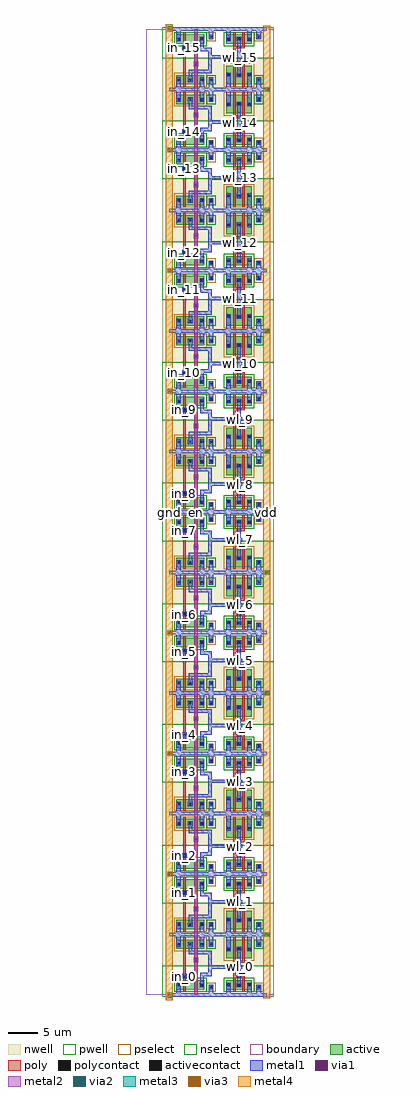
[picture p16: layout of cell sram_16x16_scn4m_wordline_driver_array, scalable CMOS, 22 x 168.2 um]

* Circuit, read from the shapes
.subckt sram_16x16_scn4m_wordline_driver_array en gnd in_0 in_1 in_10 in_11 in_12 in_13 in_14 in_15 in_2 in_3 in_4 in_5 in_6 in_7 in_8 in_9 vdd wl_0 wl_1 wl_10 wl_11 wl_12 wl_13 wl_14 wl_15 wl_2 wl_3 wl_4 wl_5 wl_6 wl_7 wl_8 wl_9
M1 sram_16x16_scn4m_wordline_driver_0/sram_16x16_scn4m_pnand2_0/sram_16x16_scn4m_nmos_m1_w1_600_sm1_dactive_2/D in_0 gnd gnd nfet w=1.6u l=0.4u
M2 sram_16x16_scn4m_wordline_driver_1/sram_16x16_scn4m_pnand2_0/sram_16x16_scn4m_nmos_m1_w1_600_sm1_dactive_2/D in_1 gnd gnd nfet w=1.6u l=0.4u
M3 sram_16x16_scn4m_wordline_driver_2/sram_16x16_scn4m_pnand2_0/sram_16x16_scn4m_nmos_m1_w1_600_sm1_dactive_2/D in_2 gnd gnd nfet w=1.6u l=0.4u
M4 sram_16x16_scn4m_wordline_driver_3/sram_16x16_scn4m_pnand2_0/sram_16x16_scn4m_nmos_m1_w1_600_sm1_dactive_2/D in_3 gnd gnd nfet w=1.6u l=0.4u
M5 sram_16x16_scn4m_wordline_driver_4/sram_16x16_scn4m_pnand2_0/sram_16x16_scn4m_nmos_m1_w1_600_sm1_dactive_2/D in_4 gnd gnd nfet w=1.6u l=0.4u
M6 sram_16x16_scn4m_wordline_driver_5/sram_16x16_scn4m_pnand2_0/sram_16x16_scn4m_nmos_m1_w1_600_sm1_dactive_2/D in_5 gnd gnd nfet w=1.6u l=0.4u
M7 sram_16x16_scn4m_wordline_driver_6/sram_16x16_scn4m_pnand2_0/sram_16x16_scn4m_nmos_m1_w1_600_sm1_dactive_2/D in_6 gnd gnd nfet w=1.6u l=0.4u
M8 sram_16x16_scn4m_wordline_driver_7/sram_16x16_scn4m_pnand2_0/sram_16x16_scn4m_nmos_m1_w1_600_sm1_dactive_2/D in_7 gnd gnd nfet w=1.6u l=0.4u
M9 sram_16x16_scn4m_wordline_driver_8/sram_16x16_scn4m_pnand2_0/sram_16x16_scn4m_nmos_m1_w1_600_sm1_dactive_2/D in_8 gnd gnd nfet w=1.6u l=0.4u
M10 sram_16x16_scn4m_wordline_driver_9/sram_16x16_scn4m_pnand2_0/sram_16x16_scn4m_nmos_m1_w1_600_sm1_dactive_2/D in_9 gnd gnd nfet w=1.6u l=0.4u
M11 sram_16x16_scn4m_wordline_driver_10/sram_16x16_scn4m_pnand2_0/sram_16x16_scn4m_nmos_m1_w1_600_sm1_dactive_2/D in_10 gnd gnd nfet w=1.6u l=0.4u
M12 sram_16x16_scn4m_wordline_driver_11/sram_16x16_scn4m_pnand2_0/sram_16x16_scn4m_nmos_m1_w1_600_sm1_dactive_2/D in_11 gnd gnd nfet w=1.6u l=0.4u
M13 sram_16x16_scn4m_wordline_driver_12/sram_16x16_scn4m_pnand2_0/sram_16x16_scn4m_nmos_m1_w1_600_sm1_dactive_2/D in_12 gnd gnd nfet w=1.6u l=0.4u
M14 sram_16x16_scn4m_wordline_driver_13/sram_16x16_scn4m_pnand2_0/sram_16x16_scn4m_nmos_m1_w1_600_sm1_dactive_2/D in_13 gnd gnd nfet w=1.6u l=0.4u
M15 sram_16x16_scn4m_wordline_driver_14/sram_16x16_scn4m_pnand2_0/sram_16x16_scn4m_nmos_m1_w1_600_sm1_dactive_2/D in_14 gnd gnd nfet w=1.6u l=0.4u
M16 sram_16x16_scn4m_wordline_driver_15/sram_16x16_scn4m_pnand2_0/sram_16x16_scn4m_nmos_m1_w1_600_sm1_dactive_2/D in_15 gnd gnd nfet w=1.6u l=0.4u
M17 sram_16x16_scn4m_wordline_driver_0/sram_16x16_scn4m_pinv_0_1/A en sram_16x16_scn4m_wordline_driver_0/sram_16x16_scn4m_pnand2_0/sram_16x16_scn4m_nmos_m1_w1_600_sm1_dactive_2/D gnd nfet w=1.6u l=0.4u
M18 sram_16x16_scn4m_wordline_driver_1/sram_16x16_scn4m_pinv_0_1/A en sram_16x16_scn4m_wordline_driver_1/sram_16x16_scn4m_pnand2_0/sram_16x16_scn4m_nmos_m1_w1_600_sm1_dactive_2/D gnd nfet w=1.6u l=0.4u
M19 sram_16x16_scn4m_wordline_driver_2/sram_16x16_scn4m_pinv_0_1/A en sram_16x16_scn4m_wordline_driver_2/sram_16x16_scn4m_pnand2_0/sram_16x16_scn4m_nmos_m1_w1_600_sm1_dactive_2/D gnd nfet w=1.6u l=0.4u
M20 sram_16x16_scn4m_wordline_driver_3/sram_16x16_scn4m_pinv_0_1/A en sram_16x16_scn4m_wordline_driver_3/sram_16x16_scn4m_pnand2_0/sram_16x16_scn4m_nmos_m1_w1_600_sm1_dactive_2/D gnd nfet w=1.6u l=0.4u
M21 sram_16x16_scn4m_wordline_driver_4/sram_16x16_scn4m_pinv_0_1/A en sram_16x16_scn4m_wordline_driver_4/sram_16x16_scn4m_pnand2_0/sram_16x16_scn4m_nmos_m1_w1_600_sm1_dactive_2/D gnd nfet w=1.6u l=0.4u
M22 sram_16x16_scn4m_wordline_driver_5/sram_16x16_scn4m_pinv_0_1/A en sram_16x16_scn4m_wordline_driver_5/sram_16x16_scn4m_pnand2_0/sram_16x16_scn4m_nmos_m1_w1_600_sm1_dactive_2/D gnd nfet w=1.6u l=0.4u
M23 sram_16x16_scn4m_wordline_driver_6/sram_16x16_scn4m_pinv_0_1/A en sram_16x16_scn4m_wordline_driver_6/sram_16x16_scn4m_pnand2_0/sram_16x16_scn4m_nmos_m1_w1_600_sm1_dactive_2/D gnd nfet w=1.6u l=0.4u
M24 sram_16x16_scn4m_wordline_driver_7/sram_16x16_scn4m_pinv_0_1/A en sram_16x16_scn4m_wordline_driver_7/sram_16x16_scn4m_pnand2_0/sram_16x16_scn4m_nmos_m1_w1_600_sm1_dactive_2/D gnd nfet w=1.6u l=0.4u
M25 sram_16x16_scn4m_wordline_driver_8/sram_16x16_scn4m_pinv_0_1/A en sram_16x16_scn4m_wordline_driver_8/sram_16x16_scn4m_pnand2_0/sram_16x16_scn4m_nmos_m1_w1_600_sm1_dactive_2/D gnd nfet w=1.6u l=0.4u
M26 sram_16x16_scn4m_wordline_driver_9/sram_16x16_scn4m_pinv_0_1/A en sram_16x16_scn4m_wordline_driver_9/sram_16x16_scn4m_pnand2_0/sram_16x16_scn4m_nmos_m1_w1_600_sm1_dactive_2/D gnd nfet w=1.6u l=0.4u
M27 sram_16x16_scn4m_wordline_driver_10/sram_16x16_scn4m_pinv_0_1/A en sram_16x16_scn4m_wordline_driver_10/sram_16x16_scn4m_pnand2_0/sram_16x16_scn4m_nmos_m1_w1_600_sm1_dactive_2/D gnd nfet w=1.6u l=0.4u
M28 sram_16x16_scn4m_wordline_driver_11/sram_16x16_scn4m_pinv_0_1/A en sram_16x16_scn4m_wordline_driver_11/sram_16x16_scn4m_pnand2_0/sram_16x16_scn4m_nmos_m1_w1_600_sm1_dactive_2/D gnd nfet w=1.6u l=0.4u
M29 sram_16x16_scn4m_wordline_driver_12/sram_16x16_scn4m_pinv_0_1/A en sram_16x16_scn4m_wordline_driver_12/sram_16x16_scn4m_pnand2_0/sram_16x16_scn4m_nmos_m1_w1_600_sm1_dactive_2/D gnd nfet w=1.6u l=0.4u
M30 sram_16x16_scn4m_wordline_driver_13/sram_16x16_scn4m_pinv_0_1/A en sram_16x16_scn4m_wordline_driver_13/sram_16x16_scn4m_pnand2_0/sram_16x16_scn4m_nmos_m1_w1_600_sm1_dactive_2/D gnd nfet w=1.6u l=0.4u
M31 sram_16x16_scn4m_wordline_driver_14/sram_16x16_scn4m_pinv_0_1/A en sram_16x16_scn4m_wordline_driver_14/sram_16x16_scn4m_pnand2_0/sram_16x16_scn4m_nmos_m1_w1_600_sm1_dactive_2/D gnd nfet w=1.6u l=0.4u
M32 sram_16x16_scn4m_wordline_driver_15/sram_16x16_scn4m_pinv_0_1/A en sram_16x16_scn4m_wordline_driver_15/sram_16x16_scn4m_pnand2_0/sram_16x16_scn4m_nmos_m1_w1_600_sm1_dactive_2/D gnd nfet w=1.6u l=0.4u
M33 wl_0 sram_16x16_scn4m_wordline_driver_0/sram_16x16_scn4m_pinv_0_1/A gnd gnd nfet w=1.6u l=0.4u m=2
M34 wl_1 sram_16x16_scn4m_wordline_driver_1/sram_16x16_scn4m_pinv_0_1/A gnd gnd nfet w=1.6u l=0.4u m=2
M35 wl_2 sram_16x16_scn4m_wordline_driver_2/sram_16x16_scn4m_pinv_0_1/A gnd gnd nfet w=1.6u l=0.4u m=2
M36 wl_3 sram_16x16_scn4m_wordline_driver_3/sram_16x16_scn4m_pinv_0_1/A gnd gnd nfet w=1.6u l=0.4u m=2
M37 wl_4 sram_16x16_scn4m_wordline_driver_4/sram_16x16_scn4m_pinv_0_1/A gnd gnd nfet w=1.6u l=0.4u m=2
M38 wl_5 sram_16x16_scn4m_wordline_driver_5/sram_16x16_scn4m_pinv_0_1/A gnd gnd nfet w=1.6u l=0.4u m=2
M39 wl_6 sram_16x16_scn4m_wordline_driver_6/sram_16x16_scn4m_pinv_0_1/A gnd gnd nfet w=1.6u l=0.4u m=2
M40 wl_7 sram_16x16_scn4m_wordline_driver_7/sram_16x16_scn4m_pinv_0_1/A gnd gnd nfet w=1.6u l=0.4u m=2
M41 wl_8 sram_16x16_scn4m_wordline_driver_8/sram_16x16_scn4m_pinv_0_1/A gnd gnd nfet w=1.6u l=0.4u m=2
M42 wl_9 sram_16x16_scn4m_wordline_driver_9/sram_16x16_scn4m_pinv_0_1/A gnd gnd nfet w=1.6u l=0.4u m=2
M43 wl_10 sram_16x16_scn4m_wordline_driver_10/sram_16x16_scn4m_pinv_0_1/A gnd gnd nfet w=1.6u l=0.4u m=2
M44 wl_11 sram_16x16_scn4m_wordline_driver_11/sram_16x16_scn4m_pinv_0_1/A gnd gnd nfet w=1.6u l=0.4u m=2
M45 wl_12 sram_16x16_scn4m_wordline_driver_12/sram_16x16_scn4m_pinv_0_1/A gnd gnd nfet w=1.6u l=0.4u m=2
M46 wl_13 sram_16x16_scn4m_wordline_driver_13/sram_16x16_scn4m_pinv_0_1/A gnd gnd nfet w=1.6u l=0.4u m=2
M47 wl_14 sram_16x16_scn4m_wordline_driver_14/sram_16x16_scn4m_pinv_0_1/A gnd gnd nfet w=1.6u l=0.4u m=2
M48 wl_15 sram_16x16_scn4m_wordline_driver_15/sram_16x16_scn4m_pinv_0_1/A gnd gnd nfet w=1.6u l=0.4u m=2
M49 sram_16x16_scn4m_wordline_driver_0/sram_16x16_scn4m_pinv_0_1/A in_0 vdd vdd pfet w=1.6u l=0.4u
M50 sram_16x16_scn4m_wordline_driver_1/sram_16x16_scn4m_pinv_0_1/A in_1 vdd vdd pfet w=1.6u l=0.4u
M51 sram_16x16_scn4m_wordline_driver_2/sram_16x16_scn4m_pinv_0_1/A in_2 vdd vdd pfet w=1.6u l=0.4u
M52 sram_16x16_scn4m_wordline_driver_3/sram_16x16_scn4m_pinv_0_1/A in_3 vdd vdd pfet w=1.6u l=0.4u
M53 sram_16x16_scn4m_wordline_driver_4/sram_16x16_scn4m_pinv_0_1/A in_4 vdd vdd pfet w=1.6u l=0.4u
M54 sram_16x16_scn4m_wordline_driver_5/sram_16x16_scn4m_pinv_0_1/A in_5 vdd vdd pfet w=1.6u l=0.4u
M55 sram_16x16_scn4m_wordline_driver_6/sram_16x16_scn4m_pinv_0_1/A in_6 vdd vdd pfet w=1.6u l=0.4u
M56 sram_16x16_scn4m_wordline_driver_7/sram_16x16_scn4m_pinv_0_1/A in_7 vdd vdd pfet w=1.6u l=0.4u
M57 sram_16x16_scn4m_wordline_driver_8/sram_16x16_scn4m_pinv_0_1/A in_8 vdd vdd pfet w=1.6u l=0.4u
M58 sram_16x16_scn4m_wordline_driver_9/sram_16x16_scn4m_pinv_0_1/A in_9 vdd vdd pfet w=1.6u l=0.4u
M59 sram_16x16_scn4m_wordline_driver_10/sram_16x16_scn4m_pinv_0_1/A in_10 vdd vdd pfet w=1.6u l=0.4u
M60 sram_16x16_scn4m_wordline_driver_11/sram_16x16_scn4m_pinv_0_1/A in_11 vdd vdd pfet w=1.6u l=0.4u
M61 sram_16x16_scn4m_wordline_driver_12/sram_16x16_scn4m_pinv_0_1/A in_12 vdd vdd pfet w=1.6u l=0.4u
M62 sram_16x16_scn4m_wordline_driver_13/sram_16x16_scn4m_pinv_0_1/A in_13 vdd vdd pfet w=1.6u l=0.4u
M63 sram_16x16_scn4m_wordline_driver_14/sram_16x16_scn4m_pinv_0_1/A in_14 vdd vdd pfet w=1.6u l=0.4u
M64 sram_16x16_scn4m_wordline_driver_15/sram_16x16_scn4m_pinv_0_1/A in_15 vdd vdd pfet w=1.6u l=0.4u
M65 vdd en sram_16x16_scn4m_wordline_driver_0/sram_16x16_scn4m_pinv_0_1/A vdd pfet w=1.6u l=0.4u
M66 vdd en sram_16x16_scn4m_wordline_driver_1/sram_16x16_scn4m_pinv_0_1/A vdd pfet w=1.6u l=0.4u
M67 vdd en sram_16x16_scn4m_wordline_driver_2/sram_16x16_scn4m_pinv_0_1/A vdd pfet w=1.6u l=0.4u
M68 vdd en sram_16x16_scn4m_wordline_driver_3/sram_16x16_scn4m_pinv_0_1/A vdd pfet w=1.6u l=0.4u
M69 vdd en sram_16x16_scn4m_wordline_driver_4/sram_16x16_scn4m_pinv_0_1/A vdd pfet w=1.6u l=0.4u
M70 vdd en sram_16x16_scn4m_wordline_driver_5/sram_16x16_scn4m_pinv_0_1/A vdd pfet w=1.6u l=0.4u
M71 vdd en sram_16x16_scn4m_wordline_driver_6/sram_16x16_scn4m_pinv_0_1/A vdd pfet w=1.6u l=0.4u
M72 vdd en sram_16x16_scn4m_wordline_driver_7/sram_16x16_scn4m_pinv_0_1/A vdd pfet w=1.6u l=0.4u
M73 vdd en sram_16x16_scn4m_wordline_driver_8/sram_16x16_scn4m_pinv_0_1/A vdd pfet w=1.6u l=0.4u
M74 vdd en sram_16x16_scn4m_wordline_driver_9/sram_16x16_scn4m_pinv_0_1/A vdd pfet w=1.6u l=0.4u
M75 vdd en sram_16x16_scn4m_wordline_driver_10/sram_16x16_scn4m_pinv_0_1/A vdd pfet w=1.6u l=0.4u
M76 vdd en sram_16x16_scn4m_wordline_driver_11/sram_16x16_scn4m_pinv_0_1/A vdd pfet w=1.6u l=0.4u
M77 vdd en sram_16x16_scn4m_wordline_driver_12/sram_16x16_scn4m_pinv_0_1/A vdd pfet w=1.6u l=0.4u
M78 vdd en sram_16x16_scn4m_wordline_driver_13/sram_16x16_scn4m_pinv_0_1/A vdd pfet w=1.6u l=0.4u
M79 vdd en sram_16x16_scn4m_wordline_driver_14/sram_16x16_scn4m_pinv_0_1/A vdd pfet w=1.6u l=0.4u
M80 vdd en sram_16x16_scn4m_wordline_driver_15/sram_16x16_scn4m_pinv_0_1/A vdd pfet w=1.6u l=0.4u
M81 wl_0 sram_16x16_scn4m_wordline_driver_0/sram_16x16_scn4m_pinv_0_1/A vdd vdd pfet w=3.2u l=0.4u m=2
M82 wl_1 sram_16x16_scn4m_wordline_driver_1/sram_16x16_scn4m_pinv_0_1/A vdd vdd pfet w=3.2u l=0.4u m=2
M83 wl_2 sram_16x16_scn4m_wordline_driver_2/sram_16x16_scn4m_pinv_0_1/A vdd vdd pfet w=3.2u l=0.4u m=2
M84 wl_3 sram_16x16_scn4m_wordline_driver_3/sram_16x16_scn4m_pinv_0_1/A vdd vdd pfet w=3.2u l=0.4u m=2
M85 wl_4 sram_16x16_scn4m_wordline_driver_4/sram_16x16_scn4m_pinv_0_1/A vdd vdd pfet w=3.2u l=0.4u m=2
M86 wl_5 sram_16x16_scn4m_wordline_driver_5/sram_16x16_scn4m_pinv_0_1/A vdd vdd pfet w=3.2u l=0.4u m=2
M87 wl_6 sram_16x16_scn4m_wordline_driver_6/sram_16x16_scn4m_pinv_0_1/A vdd vdd pfet w=3.2u l=0.4u m=2
M88 wl_7 sram_16x16_scn4m_wordline_driver_7/sram_16x16_scn4m_pinv_0_1/A vdd vdd pfet w=3.2u l=0.4u m=2
M89 wl_8 sram_16x16_scn4m_wordline_driver_8/sram_16x16_scn4m_pinv_0_1/A vdd vdd pfet w=3.2u l=0.4u m=2
M90 wl_9 sram_16x16_scn4m_wordline_driver_9/sram_16x16_scn4m_pinv_0_1/A vdd vdd pfet w=3.2u l=0.4u m=2
M91 wl_10 sram_16x16_scn4m_wordline_driver_10/sram_16x16_scn4m_pinv_0_1/A vdd vdd pfet w=3.2u l=0.4u m=2
M92 wl_11 sram_16x16_scn4m_wordline_driver_11/sram_16x16_scn4m_pinv_0_1/A vdd vdd pfet w=3.2u l=0.4u m=2
M93 wl_12 sram_16x16_scn4m_wordline_driver_12/sram_16x16_scn4m_pinv_0_1/A vdd vdd pfet w=3.2u l=0.4u m=2
M94 wl_13 sram_16x16_scn4m_wordline_driver_13/sram_16x16_scn4m_pinv_0_1/A vdd vdd pfet w=3.2u l=0.4u m=2
M95 wl_14 sram_16x16_scn4m_wordline_driver_14/sram_16x16_scn4m_pinv_0_1/A vdd vdd pfet w=3.2u l=0.4u m=2
M96 wl_15 sram_16x16_scn4m_wordline_driver_15/sram_16x16_scn4m_pinv_0_1/A vdd vdd pfet w=3.2u l=0.4u m=2
.ends

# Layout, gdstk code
import gdstk
lib = gdstk.Library(unit=1e-6, precision=1e-09)
def R(c, l, rs):  # rectangles x0, y0, x1, y1
    for r in rs: c.add(gdstk.rectangle(r[:2], r[2:], *l))
def A(c, l, x, y, w, h, nx, ny, dx, dy):  # array of equal rectangles
    R(c, l, [(x+i*dx, y+j*dy, x+i*dx+w, y+j*dy+h) for i in range(nx) for j in range(ny)])
via3 = (30, 0)
metal4 = (31, 0)
pwell = (41, 0)
nwell = (42, 0)
active = (43, 0)
pselect = (44, 0)
nselect = (45, 0)
poly = (46, 0)
polycontact = (47, 0)
activecontact = (48, 0)
metal1 = (49, 0)
via1 = (50, 0)
metal2 = (51, 0)
via2 = (61, 0)
metal3 = (62, 0)
boundary = (63, 0)

sram_16x16_scn4m_contact = lib.new_cell('sram_16x16_scn4m_contact_12')
R(sram_16x16_scn4m_contact, nwell, [(-1.2,-1.2,2,2)])
R(sram_16x16_scn4m_contact, active, [(0,0,0.8,0.8)])
R(sram_16x16_scn4m_contact, pselect, [(-0.4,-0.4,1.2,1.2)])
R(sram_16x16_scn4m_contact, activecontact, [(0.2,0.2,0.6,0.6)])
R(sram_16x16_scn4m_contact, metal1, [(0,0,0.8,0.8)])
R(sram_16x16_scn4m_contact, boundary, [(-1.2,-1.2,2,2)])

sram_16x16_scn4m_pmos_m1 = lib.new_cell('sram_16x16_scn4m_pmos_m1_w1_600_sm1_dm1')
R(sram_16x16_scn4m_pmos_m1, nwell, [(-1.2,-1.2,4,2.8)])
R(sram_16x16_scn4m_pmos_m1, active, [(0,0,2.8,1.6)])
R(sram_16x16_scn4m_pmos_m1, pselect, [(-0.4,-0.4,3.2,2)])
R(sram_16x16_scn4m_pmos_m1, poly, [(1.2,-0.4,1.6,2), (1.2,-0.4,1.6,2)])
R(sram_16x16_scn4m_pmos_m1, metal1, [(0,0.4,0.8,1.2), (2,0.4,2.8,1.2)])
R(sram_16x16_scn4m_pmos_m1, boundary, [(-1.2,-1.2,4,2.8)])
sram_16x16_scn4m_pmos_m1.add(gdstk.Reference(sram_16x16_scn4m_contact, (0,0.4)))
sram_16x16_scn4m_pmos_m1.add(gdstk.Reference(sram_16x16_scn4m_contact, (2,0.4)))
sram_16x16_scn4m_pmos_m1.add(gdstk.Label('G', (1.4,0.8), layer=46, texttype=0))
sram_16x16_scn4m_pmos_m1.add(gdstk.Label('S', (0.4,0.8), layer=49, texttype=0))
sram_16x16_scn4m_pmos_m1.add(gdstk.Label('D', (2.4,0.8), layer=49, texttype=0))

c_sram_16x16_scn4m_contact = lib.new_cell('sram_16x16_scn4m_contact_11')
R(c_sram_16x16_scn4m_contact, pwell, [(-1.2,-1.2,2,2)])
R(c_sram_16x16_scn4m_contact, active, [(0,0,0.8,0.8)])
R(c_sram_16x16_scn4m_contact, nselect, [(-0.4,-0.4,1.2,1.2)])
R(c_sram_16x16_scn4m_contact, activecontact, [(0.2,0.2,0.6,0.6)])
R(c_sram_16x16_scn4m_contact, metal1, [(0,0,0.8,0.8)])
R(c_sram_16x16_scn4m_contact, boundary, [(-1.2,-1.2,2,2)])

sram_16x16_scn4m_nmos_m1 = lib.new_cell('sram_16x16_scn4m_nmos_m1_w1_600_sm1_dactive')
R(sram_16x16_scn4m_nmos_m1, pwell, [(-1.2,-1.2,4,2.8)])
R(sram_16x16_scn4m_nmos_m1, active, [(0,0,2.8,1.6), (2.1,0.5,2.7,1.1)])
R(sram_16x16_scn4m_nmos_m1, nselect, [(-0.4,-0.4,3.2,2)])
R(sram_16x16_scn4m_nmos_m1, poly, [(1.2,-0.4,1.6,2), (1.2,-0.4,1.6,2)])
R(sram_16x16_scn4m_nmos_m1, metal1, [(0,0.4,0.8,1.2)])
R(sram_16x16_scn4m_nmos_m1, boundary, [(-1.2,-1.2,4,2.8)])
sram_16x16_scn4m_nmos_m1.add(gdstk.Reference(c_sram_16x16_scn4m_contact, (0,0.4)))
sram_16x16_scn4m_nmos_m1.add(gdstk.Label('G', (1.4,0.8), layer=46, texttype=0))
sram_16x16_scn4m_nmos_m1.add(gdstk.Label('S', (0.4,0.8), layer=49, texttype=0))
sram_16x16_scn4m_nmos_m1.add(gdstk.Label('D', (2.4,0.8), layer=43, texttype=0))

c_sram_16x16_scn4m_nmos_m1 = lib.new_cell('sram_16x16_scn4m_nmos_m1_w1_600_sactive_dm1')
R(c_sram_16x16_scn4m_nmos_m1, pwell, [(-1.2,-1.2,4,2.8)])
R(c_sram_16x16_scn4m_nmos_m1, active, [(0,0,2.8,1.6), (0.1,0.5,0.7,1.1)])
R(c_sram_16x16_scn4m_nmos_m1, nselect, [(-0.4,-0.4,3.2,2)])
R(c_sram_16x16_scn4m_nmos_m1, poly, [(1.2,-0.4,1.6,2), (1.2,-0.4,1.6,2)])
R(c_sram_16x16_scn4m_nmos_m1, metal1, [(2,0.4,2.8,1.2)])
R(c_sram_16x16_scn4m_nmos_m1, boundary, [(-1.2,-1.2,4,2.8)])
c_sram_16x16_scn4m_nmos_m1.add(gdstk.Reference(c_sram_16x16_scn4m_contact, (2,0.4)))
c_sram_16x16_scn4m_nmos_m1.add(gdstk.Label('G', (1.4,0.8), layer=46, texttype=0))
c_sram_16x16_scn4m_nmos_m1.add(gdstk.Label('S', (0.4,0.8), layer=43, texttype=0))
c_sram_16x16_scn4m_nmos_m1.add(gdstk.Label('D', (2.4,0.8), layer=49, texttype=0))

c_sram_16x16_scn4m_contact_ = lib.new_cell('sram_16x16_scn4m_contact_13')
R(c_sram_16x16_scn4m_contact_, nwell, [(-1.2,-1.2,2,2)])
R(c_sram_16x16_scn4m_contact_, active, [(0,0,0.8,0.8)])
R(c_sram_16x16_scn4m_contact_, nselect, [(-0.4,-0.4,1.2,1.2)])
R(c_sram_16x16_scn4m_contact_, activecontact, [(0.2,0.2,0.6,0.6)])
R(c_sram_16x16_scn4m_contact_, metal1, [(0,0,0.8,0.8)])
R(c_sram_16x16_scn4m_contact_, boundary, [(-1.2,-1.2,2,2)])

c_sram_16x16_scn4m_contact__ = lib.new_cell('sram_16x16_scn4m_contact_14')
R(c_sram_16x16_scn4m_contact__, pwell, [(-1.2,-1.2,2,2)])
R(c_sram_16x16_scn4m_contact__, active, [(0,0,0.8,0.8)])
R(c_sram_16x16_scn4m_contact__, pselect, [(-0.4,-0.4,1.2,1.2)])
R(c_sram_16x16_scn4m_contact__, activecontact, [(0.2,0.2,0.6,0.6)])
R(c_sram_16x16_scn4m_contact__, metal1, [(0,0,0.8,0.8)])
R(c_sram_16x16_scn4m_contact__, boundary, [(-1.2,-1.2,2,2)])

c_sram_16x16_scn4m_contact___ = lib.new_cell('sram_16x16_scn4m_contact_15')
R(c_sram_16x16_scn4m_contact___, poly, [(0,0,0.8,0.8)])
R(c_sram_16x16_scn4m_contact___, polycontact, [(0.2,0.2,0.6,0.6)])
R(c_sram_16x16_scn4m_contact___, metal1, [(0,0,0.8,0.8)])
R(c_sram_16x16_scn4m_contact___, boundary, [(0,0,0.8,0.8)])

sram_16x16_scn4m_pnand2 = lib.new_cell('sram_16x16_scn4m_pnand2')
R(sram_16x16_scn4m_pnand2, pwell, [(-1.2,-0.3,9.8,5)])
R(sram_16x16_scn4m_pnand2, nwell, [(-1.2,5,9.8,11.9)])
R(sram_16x16_scn4m_pnand2, poly, [(2.4,2.8,2.6,3.6), (2.4,2.9,2.8,7.5), (4.4,2.9,4.8,7.5), (4.4,5.6,4.6,6.4)])
R(sram_16x16_scn4m_pnand2, metal1, [(0,-0.3,8.6,0.3), (1.2,-0.3,2,1.3), (6.8,0,7.6,1.3), (5.3,2.1,5.9,3.5), (2.2,2.8,3,3.6), (5.3,3.2,5.9,3.8), (5.6,3.2,7,3.8), (6.7,3.2,7.3,3.8), (6.7,3.5,7.3,7.3), (4.2,5.6,5,6.4), (3.3,7,3.9,7.6), (3.6,7,7,7.6), (6.7,7,7.3,7.6), (3.3,7.3,3.9,8.3), (1.2,8.3,2,10.7), (5.2,8.3,6,10.7), (6.8,8.7,7.6,10.4), (0,10.1,8.6,10.7)])
R(sram_16x16_scn4m_pnand2, boundary, [(0,0,8.6,10.4), (0,0,8.6,10.4)])
sram_16x16_scn4m_pnand2.add(gdstk.Reference(sram_16x16_scn4m_pmos_m1, (1.2,7.9)))
sram_16x16_scn4m_pnand2.add(gdstk.Reference(sram_16x16_scn4m_pmos_m1, (3.2,7.9)))
sram_16x16_scn4m_pnand2.add(gdstk.Reference(sram_16x16_scn4m_nmos_m1, (1.2,0.9)))
sram_16x16_scn4m_pnand2.add(gdstk.Reference(c_sram_16x16_scn4m_nmos_m1, (3.2,0.9)))
sram_16x16_scn4m_pnand2.add(gdstk.Reference(c_sram_16x16_scn4m_contact_, (6.8,8.3)))
sram_16x16_scn4m_pnand2.add(gdstk.Reference(c_sram_16x16_scn4m_contact__, (6.8,0.9)))
sram_16x16_scn4m_pnand2.add(gdstk.Reference(c_sram_16x16_scn4m_contact___, (2.2,2.8)))
sram_16x16_scn4m_pnand2.add(gdstk.Reference(c_sram_16x16_scn4m_contact___, (4.2,5.6)))
sram_16x16_scn4m_pnand2.add(gdstk.Label('Z', (7,7.3), layer=49, texttype=0))
sram_16x16_scn4m_pnand2.add(gdstk.Label('gnd', (4.3,0), layer=49, texttype=0))
sram_16x16_scn4m_pnand2.add(gdstk.Label('vdd', (4.3,10.4), layer=49, texttype=0))
sram_16x16_scn4m_pnand2.add(gdstk.Label('A', (2.6,3.2), layer=49, texttype=0))
sram_16x16_scn4m_pnand2.add(gdstk.Label('B', (4.6,6), layer=49, texttype=0))

sram_16x16_scn4m_pmos_m2 = lib.new_cell('sram_16x16_scn4m_pmos_m2_w3_200_sm1_dm1_da_p')
R(sram_16x16_scn4m_pmos_m2, nwell, [(-1.2,-1.2,5.6,4.4)])
R(sram_16x16_scn4m_pmos_m2, active, [(0,0,4.4,3.2)])
R(sram_16x16_scn4m_pmos_m2, pselect, [(-0.4,-0.4,4.8,3.6)])
R(sram_16x16_scn4m_pmos_m2, poly, [(1.2,-0.8,3.2,-0.4), (1.2,-0.4,1.6,3.6), (2.8,-0.4,3.2,3.6)])
A(sram_16x16_scn4m_pmos_m2, metal1, 0, 1.2, 0.8, 0.8, 3, 1, 1.8, 0)
R(sram_16x16_scn4m_pmos_m2, boundary, [(-1.2,-1.2,5.6,4.4)])
sram_16x16_scn4m_pmos_m2.add(gdstk.Reference(sram_16x16_scn4m_contact, (0,1.2)))
sram_16x16_scn4m_pmos_m2.add(gdstk.Reference(sram_16x16_scn4m_contact, (1.8,1.2)))
sram_16x16_scn4m_pmos_m2.add(gdstk.Reference(sram_16x16_scn4m_contact, (3.6,1.2)))
sram_16x16_scn4m_pmos_m2.add(gdstk.Label('G', (2.2,-0.6), layer=46, texttype=0))
sram_16x16_scn4m_pmos_m2.add(gdstk.Label('S', (0.4,1.6), layer=49, texttype=0))
sram_16x16_scn4m_pmos_m2.add(gdstk.Label('S', (4,1.6), layer=49, texttype=0))
sram_16x16_scn4m_pmos_m2.add(gdstk.Label('D', (2.2,1.6), layer=49, texttype=0))

sram_16x16_scn4m_nmos_m2 = lib.new_cell('sram_16x16_scn4m_nmos_m2_w1_600_sm1_dm1_da_p')
R(sram_16x16_scn4m_nmos_m2, pwell, [(-1.2,-1.2,5.6,2.8)])
R(sram_16x16_scn4m_nmos_m2, active, [(0,0,4.4,1.6)])
R(sram_16x16_scn4m_nmos_m2, nselect, [(-0.4,-0.4,4.8,2)])
R(sram_16x16_scn4m_nmos_m2, poly, [(1.2,-0.4,1.6,2), (2.8,-0.4,3.2,2), (1.2,2,3.2,2.4)])
A(sram_16x16_scn4m_nmos_m2, metal1, 0, 0.4, 0.8, 0.8, 3, 1, 1.8, 0)
R(sram_16x16_scn4m_nmos_m2, boundary, [(-1.2,-1.2,5.6,2.8)])
sram_16x16_scn4m_nmos_m2.add(gdstk.Reference(c_sram_16x16_scn4m_contact, (0,0.4)))
sram_16x16_scn4m_nmos_m2.add(gdstk.Reference(c_sram_16x16_scn4m_contact, (1.8,0.4)))
sram_16x16_scn4m_nmos_m2.add(gdstk.Reference(c_sram_16x16_scn4m_contact, (3.6,0.4)))
sram_16x16_scn4m_nmos_m2.add(gdstk.Label('G', (2.2,2.2), layer=46, texttype=0))
sram_16x16_scn4m_nmos_m2.add(gdstk.Label('S', (4,0.8), layer=49, texttype=0))
sram_16x16_scn4m_nmos_m2.add(gdstk.Label('S', (0.4,0.8), layer=49, texttype=0))
sram_16x16_scn4m_nmos_m2.add(gdstk.Label('D', (2.2,0.8), layer=49, texttype=0))

sram_16x16_scn4m_pinv_0 = lib.new_cell('sram_16x16_scn4m_pinv_0')
R(sram_16x16_scn4m_pinv_0, pwell, [(-1.2,-0.3,9.4,5)])
R(sram_16x16_scn4m_pinv_0, nwell, [(-1.2,5,9.4,11.9)])
R(sram_16x16_scn4m_pinv_0, poly, [(2.4,3.3,2.8,5.5), (2,4.4,2.4,5.2)])
R(sram_16x16_scn4m_pinv_0, metal1, [(0,-0.3,8.2,0.3), (1.2,-0.3,2,1.3), (4.8,-0.3,5.6,1.3), (6.4,0,7.2,1.3), (3.1,1.3,3.7,8.3), (1.6,4.4,2.4,5.2), (3.4,4.5,4,5.1), (1.2,7.5,2,10.7), (4.8,7.5,5.6,10.7), (6.4,8.7,7.2,10.4), (0,10.1,8.2,10.7)])
R(sram_16x16_scn4m_pinv_0, boundary, [(0,0,8.2,10.4), (0,0,8.2,10.4)])
sram_16x16_scn4m_pinv_0.add(gdstk.Reference(sram_16x16_scn4m_pmos_m2, (1.2,6.3)))
sram_16x16_scn4m_pinv_0.add(gdstk.Reference(sram_16x16_scn4m_nmos_m2, (1.2,0.9)))
sram_16x16_scn4m_pinv_0.add(gdstk.Reference(c_sram_16x16_scn4m_contact_, (6.4,8.3)))
sram_16x16_scn4m_pinv_0.add(gdstk.Reference(c_sram_16x16_scn4m_contact__, (6.4,0.9)))
sram_16x16_scn4m_pinv_0.add(gdstk.Reference(c_sram_16x16_scn4m_contact___, (1.6,4.4)))
sram_16x16_scn4m_pinv_0.add(gdstk.Label('A', (2,4.8), layer=49, texttype=0))
sram_16x16_scn4m_pinv_0.add(gdstk.Label('Z', (3.7,4.8), layer=49, texttype=0))
sram_16x16_scn4m_pinv_0.add(gdstk.Label('gnd', (4.1,0), layer=49, texttype=0))
sram_16x16_scn4m_pinv_0.add(gdstk.Label('vdd', (4.1,10.4), layer=49, texttype=0))

sram_16x16_scn4m_wordlin = lib.new_cell('sram_16x16_scn4m_wordline_driver')
R(sram_16x16_scn4m_wordlin, metal1, [(0,-0.3,16.8,0.3), (2.2,2.8,3,3.6), (6.7,4.5,7.3,5.1), (7,4.5,10.6,5.1), (12,4.5,12.6,5.1), (6.7,4.8,7.3,7.3), (4.2,5.6,5,6.4), (0,10.1,16.8,10.7)])
R(sram_16x16_scn4m_wordlin, boundary, [(0,0,16.8,10.4)])
sram_16x16_scn4m_wordlin.add(gdstk.Reference(sram_16x16_scn4m_pnand2, (0,0)))
sram_16x16_scn4m_wordlin.add(gdstk.Reference(sram_16x16_scn4m_pinv_0, (8.6,0)))
sram_16x16_scn4m_wordlin.add(gdstk.Label('Z', (12.3,4.8), layer=49, texttype=0))
sram_16x16_scn4m_wordlin.add(gdstk.Label('A', (2.6,3.2), layer=49, texttype=0))
sram_16x16_scn4m_wordlin.add(gdstk.Label('B', (4.6,6), layer=49, texttype=0))
sram_16x16_scn4m_wordlin.add(gdstk.Label('gnd', (8.4,0), layer=49, texttype=0))
sram_16x16_scn4m_wordlin.add(gdstk.Label('vdd', (8.4,10.4), layer=49, texttype=0))

c_sram_16x16_scn4m_contact____ = lib.new_cell('sram_16x16_scn4m_contact_18')
R(c_sram_16x16_scn4m_contact____, metal1, [(0,0,0.8,0.8)])
R(c_sram_16x16_scn4m_contact____, via1, [(0.2,0.2,0.6,0.6)])
R(c_sram_16x16_scn4m_contact____, metal2, [(0,0,0.8,0.8)])
R(c_sram_16x16_scn4m_contact____, boundary, [(0,0,0.8,0.8)])

c_sram_16x16_scn4m_contact_____ = lib.new_cell('sram_16x16_scn4m_contact_19')
R(c_sram_16x16_scn4m_contact_____, metal2, [(0,0,0.8,0.8)])
R(c_sram_16x16_scn4m_contact_____, via2, [(0.2,0.2,0.6,0.6)])
R(c_sram_16x16_scn4m_contact_____, metal3, [(0,0,0.8,0.8)])
R(c_sram_16x16_scn4m_contact_____, boundary, [(0,0,0.8,0.8)])

c_sram_16x16_scn4m_contact______ = lib.new_cell('sram_16x16_scn4m_contact_22')
R(c_sram_16x16_scn4m_contact______, via3, [(0.4,0.4,0.8,0.8)])
R(c_sram_16x16_scn4m_contact______, metal4, [(0,0,1.2,1.2)])
R(c_sram_16x16_scn4m_contact______, metal3, [(0.2,0.2,1,1)])
R(c_sram_16x16_scn4m_contact______, boundary, [(0,0,1.2,1.2)])

c_sram_16x16_scn4m_wordlin = lib.new_cell('sram_16x16_scn4m_wordline_driver_array')
R(c_sram_16x16_scn4m_wordlin, metal4, [(3.4,-0.9,4.6,167.3), (20.2,-0.6,21.4,167)])
R(c_sram_16x16_scn4m_wordlin, metal1, [(6.2,2.8,7,3.6), (16,4.5,16.6,5.1), (16,15.7,16.6,16.3), (6.2,17.2,7,18), (6.2,23.6,7,24.4), (16,25.3,16.6,25.9), (16,36.5,16.6,37.1), (6.2,38,7,38.8), (6.2,44.4,7,45.2), (16,46.1,16.6,46.7), (16,57.3,16.6,57.9), (6.2,58.8,7,59.6), (6.2,65.2,7,66), (16,66.9,16.6,67.5), (16,78.1,16.6,78.7), (6.2,79.6,7,80.4), (6.2,86,7,86.8), (16,87.7,16.6,88.3), (16,98.9,16.6,99.5), (6.2,100.4,7,101.2), (6.2,106.8,7,107.6), (16,108.5,16.6,109.1), (16,119.7,16.6,120.3), (6.2,121.2,7,122), (6.2,127.6,7,128.4), (16,129.3,16.6,129.9), (16,140.5,16.6,141.1), (6.2,142,7,142.8), (6.2,148.4,7,149.2), (16,150.1,16.6,150.7), (16,161.3,16.6,161.9), (6.2,162.8,7,163.6)])
R(c_sram_16x16_scn4m_wordlin, metal2, [(8.3,0,8.9,166.4)])
R(c_sram_16x16_scn4m_wordlin, boundary, [(0,0,22,166.4)])
c_sram_16x16_scn4m_wordlin.add(gdstk.Reference(sram_16x16_scn4m_wordlin, (4,0)))
c_sram_16x16_scn4m_wordlin.add(gdstk.Reference(sram_16x16_scn4m_wordlin, (4,20.8), x_reflection=True))
c_sram_16x16_scn4m_wordlin.add(gdstk.Reference(sram_16x16_scn4m_wordlin, (4,20.8)))
c_sram_16x16_scn4m_wordlin.add(gdstk.Reference(sram_16x16_scn4m_wordlin, (4,41.6), x_reflection=True))
c_sram_16x16_scn4m_wordlin.add(gdstk.Reference(sram_16x16_scn4m_wordlin, (4,41.6)))
c_sram_16x16_scn4m_wordlin.add(gdstk.Reference(sram_16x16_scn4m_wordlin, (4,62.4), x_reflection=True))
c_sram_16x16_scn4m_wordlin.add(gdstk.Reference(sram_16x16_scn4m_wordlin, (4,62.4)))
c_sram_16x16_scn4m_wordlin.add(gdstk.Reference(sram_16x16_scn4m_wordlin, (4,83.2), x_reflection=True))
c_sram_16x16_scn4m_wordlin.add(gdstk.Reference(sram_16x16_scn4m_wordlin, (4,83.2)))
c_sram_16x16_scn4m_wordlin.add(gdstk.Reference(sram_16x16_scn4m_wordlin, (4,104), x_reflection=True))
c_sram_16x16_scn4m_wordlin.add(gdstk.Reference(sram_16x16_scn4m_wordlin, (4,104)))
c_sram_16x16_scn4m_wordlin.add(gdstk.Reference(sram_16x16_scn4m_wordlin, (4,124.8), x_reflection=True))
c_sram_16x16_scn4m_wordlin.add(gdstk.Reference(sram_16x16_scn4m_wordlin, (4,124.8)))
c_sram_16x16_scn4m_wordlin.add(gdstk.Reference(sram_16x16_scn4m_wordlin, (4,145.6), x_reflection=True))
c_sram_16x16_scn4m_wordlin.add(gdstk.Reference(sram_16x16_scn4m_wordlin, (4,145.6)))
c_sram_16x16_scn4m_wordlin.add(gdstk.Reference(sram_16x16_scn4m_wordlin, (4,166.4), x_reflection=True))
c_sram_16x16_scn4m_wordlin.add(gdstk.Reference(c_sram_16x16_scn4m_contact____, (8.2,5.6)))
c_sram_16x16_scn4m_wordlin.add(gdstk.Reference(c_sram_16x16_scn4m_contact____, (8.2,14.4)))
c_sram_16x16_scn4m_wordlin.add(gdstk.Reference(c_sram_16x16_scn4m_contact____, (8.2,26.4)))
c_sram_16x16_scn4m_wordlin.add(gdstk.Reference(c_sram_16x16_scn4m_contact____, (8.2,35.2)))
c_sram_16x16_scn4m_wordlin.add(gdstk.Reference(c_sram_16x16_scn4m_contact____, (8.2,47.2)))
c_sram_16x16_scn4m_wordlin.add(gdstk.Reference(c_sram_16x16_scn4m_contact____, (8.2,56)))
c_sram_16x16_scn4m_wordlin.add(gdstk.Reference(c_sram_16x16_scn4m_contact____, (8.2,68)))
c_sram_16x16_scn4m_wordlin.add(gdstk.Reference(c_sram_16x16_scn4m_contact____, (8.2,76.8)))
c_sram_16x16_scn4m_wordlin.add(gdstk.Reference(c_sram_16x16_scn4m_contact____, (8.2,88.8)))
c_sram_16x16_scn4m_wordlin.add(gdstk.Reference(c_sram_16x16_scn4m_contact____, (8.2,97.6)))
c_sram_16x16_scn4m_wordlin.add(gdstk.Reference(c_sram_16x16_scn4m_contact____, (8.2,109.6)))
c_sram_16x16_scn4m_wordlin.add(gdstk.Reference(c_sram_16x16_scn4m_contact____, (8.2,118.4)))
c_sram_16x16_scn4m_wordlin.add(gdstk.Reference(c_sram_16x16_scn4m_contact____, (8.2,130.4)))
c_sram_16x16_scn4m_wordlin.add(gdstk.Reference(c_sram_16x16_scn4m_contact____, (8.2,139.2)))
c_sram_16x16_scn4m_wordlin.add(gdstk.Reference(c_sram_16x16_scn4m_contact____, (8.2,151.2)))
c_sram_16x16_scn4m_wordlin.add(gdstk.Reference(c_sram_16x16_scn4m_contact____, (8.2,160)))
c_sram_16x16_scn4m_wordlin.add(gdstk.Reference(c_sram_16x16_scn4m_contact____, (20.4,10)))
c_sram_16x16_scn4m_wordlin.add(gdstk.Reference(c_sram_16x16_scn4m_contact_____, (20.4,10)))
c_sram_16x16_scn4m_wordlin.add(gdstk.Reference(c_sram_16x16_scn4m_contact______, (20.2,9.8)))
c_sram_16x16_scn4m_wordlin.add(gdstk.Reference(c_sram_16x16_scn4m_contact____, (20.4,10)))
c_sram_16x16_scn4m_wordlin.add(gdstk.Reference(c_sram_16x16_scn4m_contact_____, (20.4,10)))
c_sram_16x16_scn4m_wordlin.add(gdstk.Reference(c_sram_16x16_scn4m_contact______, (20.2,9.8)))
c_sram_16x16_scn4m_wordlin.add(gdstk.Reference(c_sram_16x16_scn4m_contact____, (20.4,30.8)))
c_sram_16x16_scn4m_wordlin.add(gdstk.Reference(c_sram_16x16_scn4m_contact_____, (20.4,30.8)))
c_sram_16x16_scn4m_wordlin.add(gdstk.Reference(c_sram_16x16_scn4m_contact______, (20.2,30.6)))
c_sram_16x16_scn4m_wordlin.add(gdstk.Reference(c_sram_16x16_scn4m_contact____, (20.4,30.8)))
c_sram_16x16_scn4m_wordlin.add(gdstk.Reference(c_sram_16x16_scn4m_contact_____, (20.4,30.8)))
c_sram_16x16_scn4m_wordlin.add(gdstk.Reference(c_sram_16x16_scn4m_contact______, (20.2,30.6)))
c_sram_16x16_scn4m_wordlin.add(gdstk.Reference(c_sram_16x16_scn4m_contact____, (20.4,51.6)))
c_sram_16x16_scn4m_wordlin.add(gdstk.Reference(c_sram_16x16_scn4m_contact_____, (20.4,51.6)))
c_sram_16x16_scn4m_wordlin.add(gdstk.Reference(c_sram_16x16_scn4m_contact______, (20.2,51.4)))
c_sram_16x16_scn4m_wordlin.add(gdstk.Reference(c_sram_16x16_scn4m_contact____, (20.4,51.6)))
c_sram_16x16_scn4m_wordlin.add(gdstk.Reference(c_sram_16x16_scn4m_contact_____, (20.4,51.6)))
c_sram_16x16_scn4m_wordlin.add(gdstk.Reference(c_sram_16x16_scn4m_contact______, (20.2,51.4)))
c_sram_16x16_scn4m_wordlin.add(gdstk.Reference(c_sram_16x16_scn4m_contact____, (20.4,72.4)))
c_sram_16x16_scn4m_wordlin.add(gdstk.Reference(c_sram_16x16_scn4m_contact_____, (20.4,72.4)))
c_sram_16x16_scn4m_wordlin.add(gdstk.Reference(c_sram_16x16_scn4m_contact______, (20.2,72.2)))
c_sram_16x16_scn4m_wordlin.add(gdstk.Reference(c_sram_16x16_scn4m_contact____, (20.4,72.4)))
c_sram_16x16_scn4m_wordlin.add(gdstk.Reference(c_sram_16x16_scn4m_contact_____, (20.4,72.4)))
c_sram_16x16_scn4m_wordlin.add(gdstk.Reference(c_sram_16x16_scn4m_contact______, (20.2,72.2)))
c_sram_16x16_scn4m_wordlin.add(gdstk.Reference(c_sram_16x16_scn4m_contact____, (20.4,93.2)))
c_sram_16x16_scn4m_wordlin.add(gdstk.Reference(c_sram_16x16_scn4m_contact_____, (20.4,93.2)))
c_sram_16x16_scn4m_wordlin.add(gdstk.Reference(c_sram_16x16_scn4m_contact______, (20.2,93)))
c_sram_16x16_scn4m_wordlin.add(gdstk.Reference(c_sram_16x16_scn4m_contact____, (20.4,93.2)))
c_sram_16x16_scn4m_wordlin.add(gdstk.Reference(c_sram_16x16_scn4m_contact_____, (20.4,93.2)))
c_sram_16x16_scn4m_wordlin.add(gdstk.Reference(c_sram_16x16_scn4m_contact______, (20.2,93)))
c_sram_16x16_scn4m_wordlin.add(gdstk.Reference(c_sram_16x16_scn4m_contact____, (20.4,114)))
c_sram_16x16_scn4m_wordlin.add(gdstk.Reference(c_sram_16x16_scn4m_contact_____, (20.4,114)))
c_sram_16x16_scn4m_wordlin.add(gdstk.Reference(c_sram_16x16_scn4m_contact______, (20.2,113.8)))
c_sram_16x16_scn4m_wordlin.add(gdstk.Reference(c_sram_16x16_scn4m_contact____, (20.4,114)))
c_sram_16x16_scn4m_wordlin.add(gdstk.Reference(c_sram_16x16_scn4m_contact_____, (20.4,114)))
c_sram_16x16_scn4m_wordlin.add(gdstk.Reference(c_sram_16x16_scn4m_contact______, (20.2,113.8)))
c_sram_16x16_scn4m_wordlin.add(gdstk.Reference(c_sram_16x16_scn4m_contact____, (20.4,134.8)))
c_sram_16x16_scn4m_wordlin.add(gdstk.Reference(c_sram_16x16_scn4m_contact_____, (20.4,134.8)))
c_sram_16x16_scn4m_wordlin.add(gdstk.Reference(c_sram_16x16_scn4m_contact______, (20.2,134.6)))
c_sram_16x16_scn4m_wordlin.add(gdstk.Reference(c_sram_16x16_scn4m_contact____, (20.4,134.8)))
c_sram_16x16_scn4m_wordlin.add(gdstk.Reference(c_sram_16x16_scn4m_contact_____, (20.4,134.8)))
c_sram_16x16_scn4m_wordlin.add(gdstk.Reference(c_sram_16x16_scn4m_contact______, (20.2,134.6)))
c_sram_16x16_scn4m_wordlin.add(gdstk.Reference(c_sram_16x16_scn4m_contact____, (20.4,155.6)))
c_sram_16x16_scn4m_wordlin.add(gdstk.Reference(c_sram_16x16_scn4m_contact_____, (20.4,155.6)))
c_sram_16x16_scn4m_wordlin.add(gdstk.Reference(c_sram_16x16_scn4m_contact______, (20.2,155.4)))
c_sram_16x16_scn4m_wordlin.add(gdstk.Reference(c_sram_16x16_scn4m_contact____, (20.4,155.6)))
c_sram_16x16_scn4m_wordlin.add(gdstk.Reference(c_sram_16x16_scn4m_contact_____, (20.4,155.6)))
c_sram_16x16_scn4m_wordlin.add(gdstk.Reference(c_sram_16x16_scn4m_contact______, (20.2,155.4)))
c_sram_16x16_scn4m_wordlin.add(gdstk.Reference(c_sram_16x16_scn4m_contact____, (3.6,-0.4)))
c_sram_16x16_scn4m_wordlin.add(gdstk.Reference(c_sram_16x16_scn4m_contact_____, (3.6,-0.4)))
c_sram_16x16_scn4m_wordlin.add(gdstk.Reference(c_sram_16x16_scn4m_contact______, (3.4,-0.6)))
c_sram_16x16_scn4m_wordlin.add(gdstk.Reference(c_sram_16x16_scn4m_contact____, (3.6,20.4)))
c_sram_16x16_scn4m_wordlin.add(gdstk.Reference(c_sram_16x16_scn4m_contact_____, (3.6,20.4)))
c_sram_16x16_scn4m_wordlin.add(gdstk.Reference(c_sram_16x16_scn4m_contact______, (3.4,20.2)))
c_sram_16x16_scn4m_wordlin.add(gdstk.Reference(c_sram_16x16_scn4m_contact____, (3.6,20.4)))
c_sram_16x16_scn4m_wordlin.add(gdstk.Reference(c_sram_16x16_scn4m_contact_____, (3.6,20.4)))
c_sram_16x16_scn4m_wordlin.add(gdstk.Reference(c_sram_16x16_scn4m_contact______, (3.4,20.2)))
c_sram_16x16_scn4m_wordlin.add(gdstk.Reference(c_sram_16x16_scn4m_contact____, (3.6,41.2)))
c_sram_16x16_scn4m_wordlin.add(gdstk.Reference(c_sram_16x16_scn4m_contact_____, (3.6,41.2)))
c_sram_16x16_scn4m_wordlin.add(gdstk.Reference(c_sram_16x16_scn4m_contact______, (3.4,41)))
c_sram_16x16_scn4m_wordlin.add(gdstk.Reference(c_sram_16x16_scn4m_contact____, (3.6,41.2)))
c_sram_16x16_scn4m_wordlin.add(gdstk.Reference(c_sram_16x16_scn4m_contact_____, (3.6,41.2)))
c_sram_16x16_scn4m_wordlin.add(gdstk.Reference(c_sram_16x16_scn4m_contact______, (3.4,41)))
c_sram_16x16_scn4m_wordlin.add(gdstk.Reference(c_sram_16x16_scn4m_contact____, (3.6,62)))
c_sram_16x16_scn4m_wordlin.add(gdstk.Reference(c_sram_16x16_scn4m_contact_____, (3.6,62)))
c_sram_16x16_scn4m_wordlin.add(gdstk.Reference(c_sram_16x16_scn4m_contact______, (3.4,61.8)))
c_sram_16x16_scn4m_wordlin.add(gdstk.Reference(c_sram_16x16_scn4m_contact____, (3.6,62)))
c_sram_16x16_scn4m_wordlin.add(gdstk.Reference(c_sram_16x16_scn4m_contact_____, (3.6,62)))
c_sram_16x16_scn4m_wordlin.add(gdstk.Reference(c_sram_16x16_scn4m_contact______, (3.4,61.8)))
c_sram_16x16_scn4m_wordlin.add(gdstk.Reference(c_sram_16x16_scn4m_contact____, (3.6,82.8)))
c_sram_16x16_scn4m_wordlin.add(gdstk.Reference(c_sram_16x16_scn4m_contact_____, (3.6,82.8)))
c_sram_16x16_scn4m_wordlin.add(gdstk.Reference(c_sram_16x16_scn4m_contact______, (3.4,82.6)))
c_sram_16x16_scn4m_wordlin.add(gdstk.Reference(c_sram_16x16_scn4m_contact____, (3.6,82.8)))
c_sram_16x16_scn4m_wordlin.add(gdstk.Reference(c_sram_16x16_scn4m_contact_____, (3.6,82.8)))
c_sram_16x16_scn4m_wordlin.add(gdstk.Reference(c_sram_16x16_scn4m_contact______, (3.4,82.6)))
c_sram_16x16_scn4m_wordlin.add(gdstk.Reference(c_sram_16x16_scn4m_contact____, (3.6,103.6)))
c_sram_16x16_scn4m_wordlin.add(gdstk.Reference(c_sram_16x16_scn4m_contact_____, (3.6,103.6)))
c_sram_16x16_scn4m_wordlin.add(gdstk.Reference(c_sram_16x16_scn4m_contact______, (3.4,103.4)))
c_sram_16x16_scn4m_wordlin.add(gdstk.Reference(c_sram_16x16_scn4m_contact____, (3.6,103.6)))
c_sram_16x16_scn4m_wordlin.add(gdstk.Reference(c_sram_16x16_scn4m_contact_____, (3.6,103.6)))
c_sram_16x16_scn4m_wordlin.add(gdstk.Reference(c_sram_16x16_scn4m_contact______, (3.4,103.4)))
c_sram_16x16_scn4m_wordlin.add(gdstk.Reference(c_sram_16x16_scn4m_contact____, (3.6,124.4)))
c_sram_16x16_scn4m_wordlin.add(gdstk.Reference(c_sram_16x16_scn4m_contact_____, (3.6,124.4)))
c_sram_16x16_scn4m_wordlin.add(gdstk.Reference(c_sram_16x16_scn4m_contact______, (3.4,124.2)))
c_sram_16x16_scn4m_wordlin.add(gdstk.Reference(c_sram_16x16_scn4m_contact____, (3.6,124.4)))
c_sram_16x16_scn4m_wordlin.add(gdstk.Reference(c_sram_16x16_scn4m_contact_____, (3.6,124.4)))
c_sram_16x16_scn4m_wordlin.add(gdstk.Reference(c_sram_16x16_scn4m_contact______, (3.4,124.2)))
c_sram_16x16_scn4m_wordlin.add(gdstk.Reference(c_sram_16x16_scn4m_contact____, (3.6,145.2)))
c_sram_16x16_scn4m_wordlin.add(gdstk.Reference(c_sram_16x16_scn4m_contact_____, (3.6,145.2)))
c_sram_16x16_scn4m_wordlin.add(gdstk.Reference(c_sram_16x16_scn4m_contact______, (3.4,145)))
c_sram_16x16_scn4m_wordlin.add(gdstk.Reference(c_sram_16x16_scn4m_contact____, (3.6,145.2)))
c_sram_16x16_scn4m_wordlin.add(gdstk.Reference(c_sram_16x16_scn4m_contact_____, (3.6,145.2)))
c_sram_16x16_scn4m_wordlin.add(gdstk.Reference(c_sram_16x16_scn4m_contact______, (3.4,145)))
c_sram_16x16_scn4m_wordlin.add(gdstk.Reference(c_sram_16x16_scn4m_contact____, (3.6,166)))
c_sram_16x16_scn4m_wordlin.add(gdstk.Reference(c_sram_16x16_scn4m_contact_____, (3.6,166)))
c_sram_16x16_scn4m_wordlin.add(gdstk.Reference(c_sram_16x16_scn4m_contact______, (3.4,165.8)))
c_sram_16x16_scn4m_wordlin.add(gdstk.Label('en', (8.6,83.2), layer=51, texttype=0))
c_sram_16x16_scn4m_wordlin.add(gdstk.Label('in_0', (6.6,3.2), layer=49, texttype=0))
c_sram_16x16_scn4m_wordlin.add(gdstk.Label('wl_0', (16.3,4.8), layer=49, texttype=0))
c_sram_16x16_scn4m_wordlin.add(gdstk.Label('in_1', (6.6,17.6), layer=49, texttype=0))
c_sram_16x16_scn4m_wordlin.add(gdstk.Label('wl_1', (16.3,16), layer=49, texttype=0))
c_sram_16x16_scn4m_wordlin.add(gdstk.Label('in_2', (6.6,24), layer=49, texttype=0))
c_sram_16x16_scn4m_wordlin.add(gdstk.Label('wl_2', (16.3,25.6), layer=49, texttype=0))
c_sram_16x16_scn4m_wordlin.add(gdstk.Label('in_3', (6.6,38.4), layer=49, texttype=0))
c_sram_16x16_scn4m_wordlin.add(gdstk.Label('wl_3', (16.3,36.8), layer=49, texttype=0))
c_sram_16x16_scn4m_wordlin.add(gdstk.Label('in_4', (6.6,44.8), layer=49, texttype=0))
c_sram_16x16_scn4m_wordlin.add(gdstk.Label('wl_4', (16.3,46.4), layer=49, texttype=0))
c_sram_16x16_scn4m_wordlin.add(gdstk.Label('in_5', (6.6,59.2), layer=49, texttype=0))
c_sram_16x16_scn4m_wordlin.add(gdstk.Label('wl_5', (16.3,57.6), layer=49, texttype=0))
c_sram_16x16_scn4m_wordlin.add(gdstk.Label('in_6', (6.6,65.6), layer=49, texttype=0))
c_sram_16x16_scn4m_wordlin.add(gdstk.Label('wl_6', (16.3,67.2), layer=49, texttype=0))
c_sram_16x16_scn4m_wordlin.add(gdstk.Label('in_7', (6.6,80), layer=49, texttype=0))
c_sram_16x16_scn4m_wordlin.add(gdstk.Label('wl_7', (16.3,78.4), layer=49, texttype=0))
c_sram_16x16_scn4m_wordlin.add(gdstk.Label('in_8', (6.6,86.4), layer=49, texttype=0))
c_sram_16x16_scn4m_wordlin.add(gdstk.Label('wl_8', (16.3,88), layer=49, texttype=0))
c_sram_16x16_scn4m_wordlin.add(gdstk.Label('in_9', (6.6,100.8), layer=49, texttype=0))
c_sram_16x16_scn4m_wordlin.add(gdstk.Label('wl_9', (16.3,99.2), layer=49, texttype=0))
c_sram_16x16_scn4m_wordlin.add(gdstk.Label('in_10', (6.6,107.2), layer=49, texttype=0))
c_sram_16x16_scn4m_wordlin.add(gdstk.Label('wl_10', (16.3,108.8), layer=49, texttype=0))
c_sram_16x16_scn4m_wordlin.add(gdstk.Label('in_11', (6.6,121.6), layer=49, texttype=0))
c_sram_16x16_scn4m_wordlin.add(gdstk.Label('wl_11', (16.3,120), layer=49, texttype=0))
c_sram_16x16_scn4m_wordlin.add(gdstk.Label('in_12', (6.6,128), layer=49, texttype=0))
c_sram_16x16_scn4m_wordlin.add(gdstk.Label('wl_12', (16.3,129.6), layer=49, texttype=0))
c_sram_16x16_scn4m_wordlin.add(gdstk.Label('in_13', (6.6,142.4), layer=49, texttype=0))
c_sram_16x16_scn4m_wordlin.add(gdstk.Label('wl_13', (16.3,140.8), layer=49, texttype=0))
c_sram_16x16_scn4m_wordlin.add(gdstk.Label('in_14', (6.6,148.8), layer=49, texttype=0))
c_sram_16x16_scn4m_wordlin.add(gdstk.Label('wl_14', (16.3,150.4), layer=49, texttype=0))
c_sram_16x16_scn4m_wordlin.add(gdstk.Label('in_15', (6.6,163.2), layer=49, texttype=0))
c_sram_16x16_scn4m_wordlin.add(gdstk.Label('wl_15', (16.3,161.6), layer=49, texttype=0))
c_sram_16x16_scn4m_wordlin.add(gdstk.Label('vdd', (20.8,83.2), layer=31, texttype=0))
c_sram_16x16_scn4m_wordlin.add(gdstk.Label('gnd', (4,83.2), layer=31, texttype=0))

lib.write_gds('sram_16x16_scn4m_wordline_driver_array.gds')
